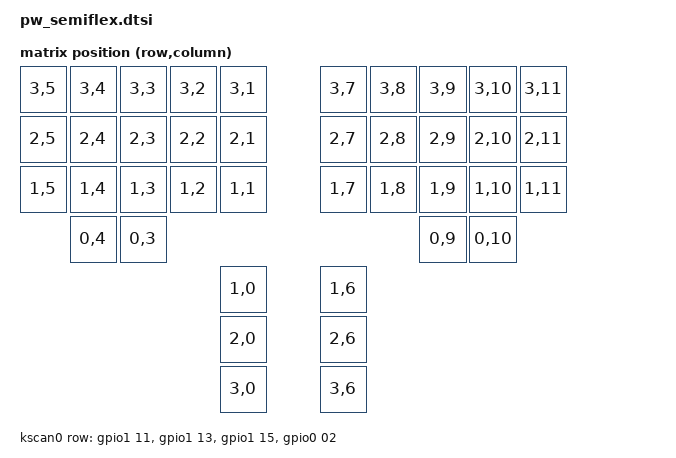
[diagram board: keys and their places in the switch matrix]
#include <dt-bindings/zmk/matrix_transform.h>

/ {
    chosen {
        zmk,kscan = &kscan0;
        zmk,matrix-transform = &default_transform;
    };

    default_transform: keymap_transform_0 {
        compatible = "zmk,matrix-transform";
        columns = <12>;
        rows = <4>;
        map = <
RC(3,5) RC(3,4) RC(3,3) RC(3,2) RC(3,1)             RC(3,7) RC(3,8) RC(3,9) RC(3,10) RC(3,11)
RC(2,5) RC(2,4) RC(2,3) RC(2,2) RC(2,1)             RC(2,7) RC(2,8) RC(2,9) RC(2,10) RC(2,11)
RC(1,5) RC(1,4) RC(1,3) RC(1,2) RC(1,1)             RC(1,7) RC(1,8) RC(1,9) RC(1,10) RC(1,11)
        RC(0,4) RC(0,3)                                             RC(0,9) RC(0,10)
                                  RC(1,0)         RC(1,6)
                                  RC(2,0)         RC(2,6)
                                  RC(3,0)         RC(3,6)
        >;
    };

    kscan0: kscan {
        compatible = "zmk,kscan-gpio-matrix";
        diode-direction = "col2row";

        row-gpios
            = <&gpio1 11 (GPIO_ACTIVE_HIGH | GPIO_PULL_DOWN)> // Row 1
            , <&gpio1 13 (GPIO_ACTIVE_HIGH | GPIO_PULL_DOWN)> // Row 2
            , <&gpio1 15 (GPIO_ACTIVE_HIGH | GPIO_PULL_DOWN)> // Row 3
            , <&gpio0 02 (GPIO_ACTIVE_HIGH | GPIO_PULL_DOWN)> // Row 4
            ;
    };
};

#define INPUT_EV_KEY 0x01               /**< Key event */
#define INPUT_EV_REL 0x02               /**< Relative coordinate event */
#define INPUT_EV_ABS 0x03               /**< Absolute coordinate event */
#define INPUT_EV_MSC 0x04               /**< Miscellaneous event */
#define INPUT_EV_VENDOR_START 0xf0      /**< Vendor specific event start */
#define INPUT_EV_VENDOR_STOP 0xff       /**< Vendor specific event stop */

#define INPUT_REL_X 0x00                /**< Relative X coordinate */
#define INPUT_REL_Y 0x01                /**< Relative Y coordinate */
#define INPUT_REL_WHEEL 0x08            /**< Relative wheel coordinate */
#define INPUT_REL_HWHEEL 0x06           /**< Relative horizontal wheel coordinate */
#define INPUT_REL_MISC 0x09             /**< Relative misc coordinate */
